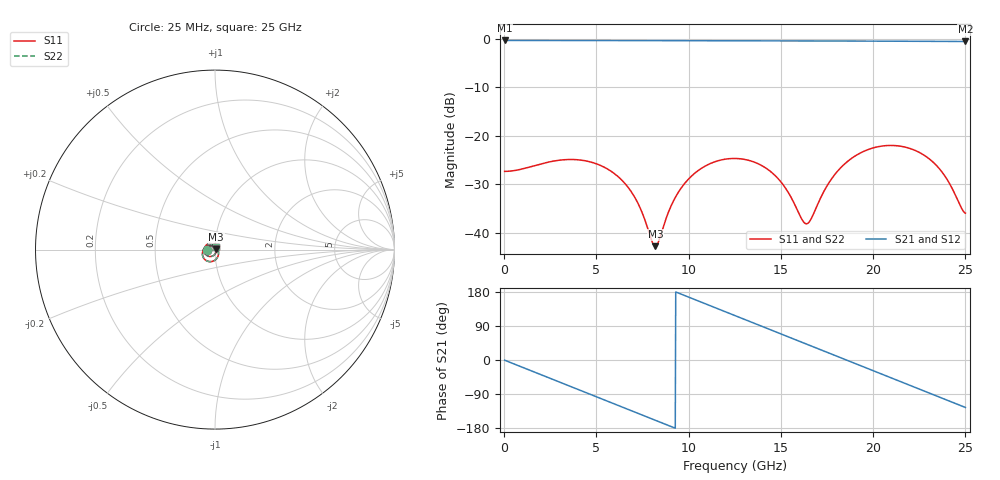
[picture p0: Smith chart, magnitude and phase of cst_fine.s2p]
! thru_RG_ts6p_L4: 2×thru, L4, 8 mm
! stackup: ThunderScope Rev5.3 6-layer with the In2 plane
! ports: 1, 2
! CST Studio Suite 2025.5 Release from 2025-05-30, time domain (FIT, hexahedral, PBA), 74037 mesh cells, 18 s
! mesh: {'lpw': 30.0, 'lpb': 30.0, 'minstep': 0.0, 'ratio': 20}; ports: port 1 (face); port 2 (face)
! interpolated from CST's 1001 samples to the case grid
# Hz S RI R 50
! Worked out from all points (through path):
!   1000 points, 25 MHz to 25 GHz, reference 50 ohm
!   highest |S21| = -0.38 dB at 25 MHz (marker M1); lowest = -0.6 dB at 25 GHz (marker M2)
!   group delay of S21, straight-line fit = 53.9 ps
!   lowest |S11| = -42.8 dB at 8.2 GHz (marker M3), VSWR 1.01, Z = 50.7 + j0.0635 ohm
!   |S11| at or under -10 dB: start of sweep to end of sweep
!   |S22| runs from -42.8 to -22.0 dB; largest |S21 - S12| = 5.1e-07
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2.5e7  -0.0427 -8.6e-05  0.957 -0.00811  0.957 -0.00811  -0.0427 -8.6e-05
1.9e9  -0.0505 -0.00111  0.7651 -0.5743  0.7651 -0.5743  -0.0505 -0.00111
4.2e9  -0.0511 0.0223  0.141 -0.9451  0.141 -0.9451  -0.0511 0.0223
5.35e9  -0.0353 0.0325  -0.2281 -0.9274  -0.2281 -0.9274  -0.0353 0.0325
6.55e9  -0.0124 0.0295  -0.5757 -0.7614  -0.5757 -0.7614  -0.0124 0.0295
7.25e9  -0.000834 0.0201  -0.7381 -0.6047  -0.7381 -0.6047  -0.000834 0.0201
8.2e9  0.00721 0.000626  -0.891 -0.34  -0.891 -0.34  0.00721 0.000626
8.35e9  0.00742 -0.00279  -0.907 -0.2942  -0.907 -0.2942  0.00742 -0.00279
9.125e9  0.00345 -0.0199  -0.9517 -0.0486  -0.9517 -0.0486  0.00345 -0.0199
9.95e9  -0.00906 -0.0337  -0.9275 0.2157  -0.9275 0.2157  -0.00906 -0.0337
1.1175e10  -0.0353 -0.0375  -0.7606 0.5705  -0.7606 0.5705  -0.0353 -0.0375
1.2525e10  -0.0554 -0.0174  -0.43 0.8461  -0.43 0.8461  -0.0554 -0.0174
1.455e10  -0.0352 0.0208  0.2018 0.9251  0.2018 0.9251  -0.0352 0.0208
1.6225e10  0.00648 0.0112  0.6662 0.6712  0.6662 0.6712  0.00648 0.0112
1.6675e10  0.0143 0.000697  0.7602 0.5621  0.7602 0.5621  0.0143 0.000697
1.7525e10  0.0195 -0.0239  0.8882 0.3226  0.8882 0.3226  0.0195 -0.0239
1.84e10  0.0102 -0.0489  0.9431 0.0485  0.9431 0.0485  0.0102 -0.0489
1.96e10  -0.0214 -0.0669  0.8837 -0.3289  0.8837 -0.3289  -0.0214 -0.0669
2.085e10  -0.0571 -0.0547  0.668 -0.6622  0.668 -0.6622  -0.0571 -0.0547
2.205e10  -0.0701 -0.0205  0.3504 -0.8701  0.3504 -0.8701  -0.0701 -0.0205
2.3175e10  -0.0536 0.0114  0.00196 -0.9357  0.00196 -0.9357  -0.0536 0.0114
2.5e10  0.00734 0.0141  -0.5389 -0.7628  -0.5389 -0.7628  0.00734 0.0141
